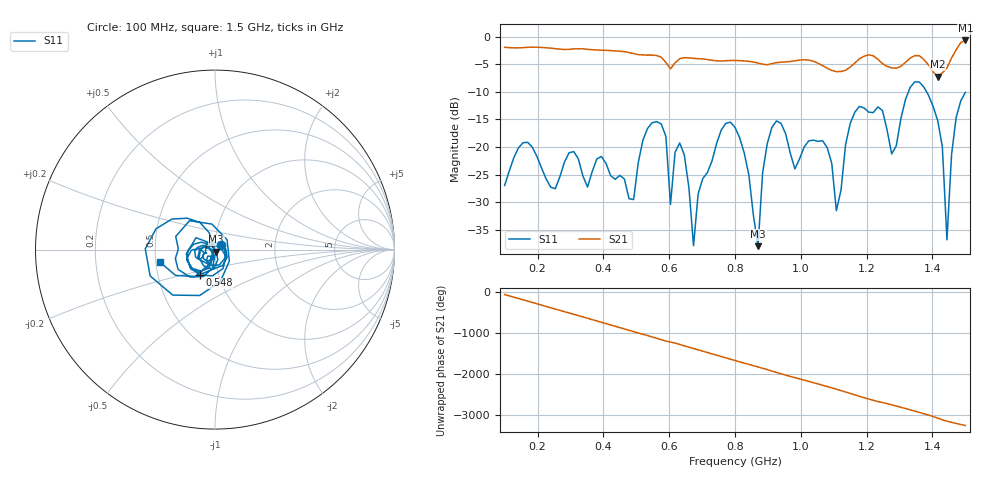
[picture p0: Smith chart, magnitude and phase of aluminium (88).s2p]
! NanoVNA-App
! Date: 2025-09-26 09:58:44
! Start: 100MHz Stop: 1,5GHz Points: 101
! S-Parameter data: F S11 S21 S12 S22
# Hz S RI R 50
!  Frequency  S11_Real  S11_Imag  S21_Real  S21_Imag  S12_Real  S12_Imag  S22_Real  S22_Imag
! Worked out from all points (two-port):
!   101 points, 100 MHz to 1.5 GHz, reference 50 ohm
!   highest |S21| = -0.68 dB at 1.5 GHz (marker M1); lowest = -7.3 dB at 1.416 GHz (marker M2)
!   |S21| within 3 dB of the highest: start of sweep to 574.3 MHz; 1.188 GHz to 1.225 GHz (37.17 MHz wide, 3.08 % of centre)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
!   lowest |S11| = -38.0 dB at 870 MHz (marker M3), VSWR 1.03, Z = 50.6 - j1.13 ohm
!   |S11| at or under -10 dB: start of sweep to 1.327 GHz; 1.382 GHz to end of sweep
!   S12 and S22 are empty: the file has one direction only
!   S11 on the Smith chart (normalised r, x): 100 MHz: 1.07, +0.06; 548 MHz: 0.81, -0.24; 1.5 GHz: 0.53, -0.08
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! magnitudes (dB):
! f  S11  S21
! 100 MHz  -27.0  -1.9
! 156 MHz  -19.2  -2.0
! 338 MHz  -25.3  -2.2
! 492 MHz  -29.5  -3.1
! 548 MHz  -15.6  -3.3
! 576 MHz  -15.8  -3.7
! 604 MHz  -30.4  -5.8
! 646 MHz  -21.4  -3.8
! 674 MHz  -37.9  -3.9
! 702 MHz  -25.7  -4.0
! 800 MHz  -16.4  -4.3
! 870 MHz  -38.0  -4.8
! 912 MHz  -16.4  -4.9
! 1.038 GHz  -18.7  -4.4
! 1.108 GHz  -31.5  -6.3
! 1.178 GHz  -12.6  -4.0
! 1.276 GHz  -21.2  -5.7
! 1.346 GHz  -8.2  -3.4
! 1.416 GHz  -15.2  -7.3
! 1.444 GHz  -36.8  -5.7
! 1.472 GHz  -14.6  -2.4
! 1.5 GHz  -10.1  -0.7
